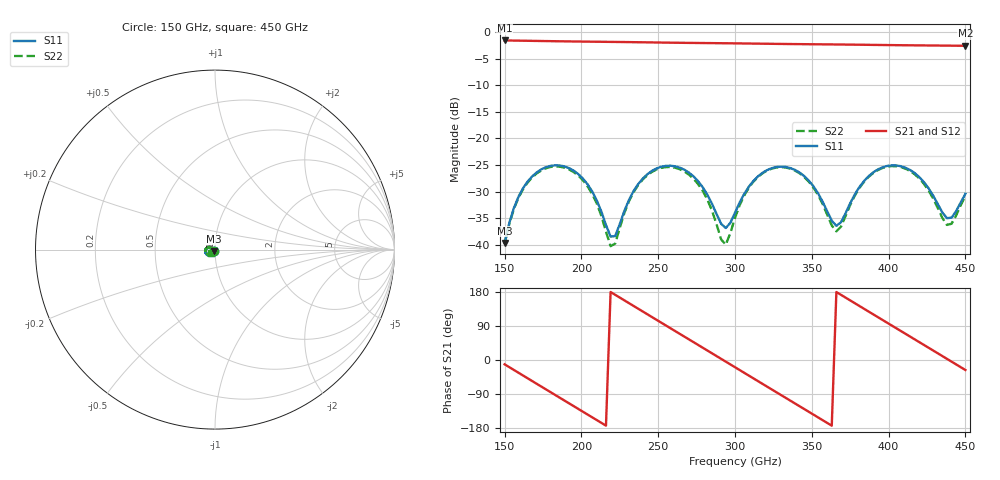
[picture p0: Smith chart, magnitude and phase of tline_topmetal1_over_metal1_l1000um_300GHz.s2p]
#  GHZ S DB R 50
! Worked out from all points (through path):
!   101 points, 150 GHz to 450 GHz, reference 50 ohm
!   highest |S21| = -1.58 dB at 150 GHz (marker M1); lowest = -2.6 dB at 450 GHz (marker M2)
!   group delay of S21, straight-line fit = 6.8 ps
!   lowest |S11| = -39.6 dB at 150 GHz (marker M3), VSWR 1.02, Z = 49.4 - j0.822 ohm
!   |S11| at or under -10 dB: start of sweep to end of sweep
!   |S22| runs from -40.3 to -25.2 dB; largest |S21 - S12| = 9.3e-14
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150  -39.65 -127.0  -1.58 -11.4  -1.58 -11.4  -39.80 -129.9
162  -29.37 -118.0  -1.63 -40.9  -1.63 -40.9  -29.55 -120.6
177  -25.41 -146.9  -1.70 -77.7  -1.70 -77.7  -25.61 -149.9
189  -25.27 -171.8  -1.75 -107.1  -1.75 -107.1  -25.51 -175.4
201  -27.56 165.5  -1.79 -136.5  -1.79 -136.5  -27.88 161.0
210  -31.66 155.4  -1.82 -158.5  -1.82 -158.5  -32.24 149.5
219  -38.47 -176.7  -1.85 179.4  -1.85 179.4  -40.27 -179.4
234  -29.89 -125.5  -1.90 142.6  -1.90 142.6  -30.09 -125.2
252  -25.33 -155.1  -1.98 98.5  -1.98 98.5  -25.54 -157.7
264  -25.49 -178.0  -2.02 69.1  -2.02 69.1  -25.79 178.0
276  -28.06 162.4  -2.06 39.8  -2.06 39.8  -28.60 156.1
294  -36.85 -166.1  -2.11 -4.4  -2.11 -4.4  -39.99 -160.8
300  -33.98 -136.8  -2.13 -19.1  -2.13 -19.1  -34.94 -126.4
312  -28.00 -137.7  -2.17 -48.5  -2.17 -48.5  -28.14 -133.9
327  -25.38 -162.2  -2.22 -85.2  -2.22 -85.2  -25.47 -161.5
351  -28.98 159.6  -2.30 -143.9  -2.30 -143.9  -29.23 157.4
366  -36.44 -169.9  -2.34 179.3  -2.34 179.3  -37.48 -169.9
384  -28.02 -137.4  -2.39 135.2  -2.39 135.2  -28.16 -136.9
402  -25.07 -165.9  -2.46 91.1  -2.46 91.1  -25.21 -167.3
420  -27.28 165.4  -2.51 47.1  -2.51 47.1  -27.54 162.2
438  -35.01 -175.3  -2.55 3.0  -2.55 3.0  -36.27 -177.0
450  -30.42 -136.3  -2.59 -26.4  -2.59 -26.4  -30.78 -134.5
